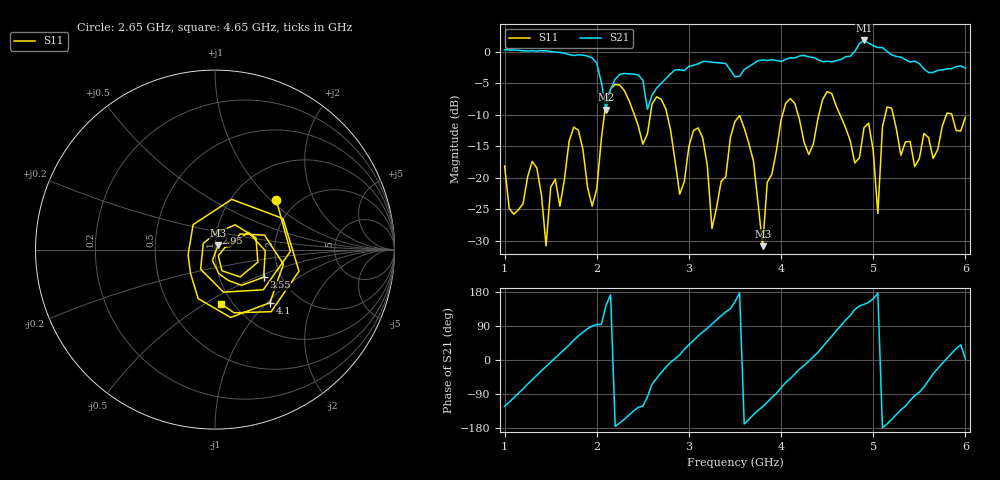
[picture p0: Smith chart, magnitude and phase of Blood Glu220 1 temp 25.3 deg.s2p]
! NanoVNA-App
! Date: 2024-03-21 01:31:52
! Start: 1GHz Stop: 6GHz Points: 101
! S-Parameter data: F S11 S21 S12 S22
# Hz S RI R 50
!	Frequency	S11_Real	S11_Imag	S21_Real	S21_Imag	S12_Real	S12_Imag	S22_Real	S22_Imag
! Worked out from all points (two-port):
!   101 points, 1 GHz to 6 GHz, reference 50 ohm
!   highest |S21| = 1.81 dB at 4.9 GHz (marker M1); lowest = -9.2 dB at 2.1 GHz (marker M2)
!   |S21| within 3 dB of the highest: start of sweep to 1.964 GHz; 4.653 GHz to 5.344 GHz (691.1 MHz wide, 13.8 % of centre)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
!   lowest |S11| = -30.9 dB at 3.8 GHz (marker M3), VSWR 1.06, Z = 51.6 + j2.41 ohm
!   |S11| at or under -10 dB: start of sweep to 2.082 GHz; 2.764 GHz to 4.016 GHz (1.252 GHz wide, 36.9 % of centre); 5.216 GHz to 5.793 GHz (577.1 MHz wide, 10.5 % of centre)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
!   S12 and S22 are empty: the file has one direction only
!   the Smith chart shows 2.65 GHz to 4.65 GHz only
!   S11 on the Smith chart (normalised r, x): 2.65 GHz: 1.58, +1.08; 2.95 GHz: 1.00, +0.19; 3.55 GHz: 1.63, -0.55; 4.1 GHz: 1.44, -1.04; 4.65 GHz: 0.89, -0.59
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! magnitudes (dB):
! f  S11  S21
! 1 GHz  -18.1  0.3
! 1.35 GHz  -18.5  0.1
! 1.45 GHz  -30.8  0.2
! 1.85 GHz  -15.5  -0.5
! 1.95 GHz  -24.5  -1.0
! 2.1 GHz  -7.9  -9.2
! 2.65 GHz  -7.1  -5.7
! 2.7 GHz  -7.5  -5.0
! 2.95 GHz  -20.6  -3.0
! 3.1 GHz  -12.1  -1.9
! 3.25 GHz  -28.1  -1.7
! 3.5 GHz  -11.1  -4.0
! 3.55 GHz  -10.1  -3.9
! 3.8 GHz  -30.9  -1.3
! 4.1 GHz  -7.4  -0.9
! 4.35 GHz  -14.7  -0.9
! 4.65 GHz  -10.3  -1.2
! 4.9 GHz  -12.0  1.8
! 5.05 GHz  -25.7  0.7
! 5.2 GHz  -9.0  -0.5
! 5.45 GHz  -18.2  -1.5
! 6 GHz  -10.4  -2.6
